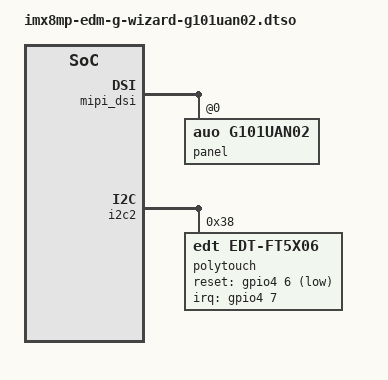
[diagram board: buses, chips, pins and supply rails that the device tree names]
// SPDX-License-Identifier: (GPL-2.0 OR MIT)
/*
 * Copyright 2020 TechNexion Ltd.
 *
 * Author: Richard Hu <richard.hu@technexion.com>
 *
 */

/dts-v1/;
/plugin/;

#include <dt-bindings/interrupt-controller/irq.h>
#include <dt-bindings/gpio/gpio.h>

&{/} {
	backlight_mipi {
		status = "okay";
	};
};

&mipi_dsi {
	status = "okay";
	#address-cells = <1>;
	#size-cells = <0>;

	panel@0 {
		compatible = "auo,g101uan02";
		reg = <0>;
		status = "okay";
	};
};

&gpio4 {
	pinctrl-0 = <&pinctrl_gpio4_mipi>;
};

&i2c2 {
	#address-cells = <1>;
	#size-cells = <0>;
	status = "okay";

	polytouch: edt-ft5826@38 {
		compatible = "edt,edt-ft5x06";
		reg = <0x38>;
		pinctrl-names = "default";
		pinctrl-0 = <&pinctrl_mipi_touch_irq>, <&pinctrl_mipi_touch_reset>;
		interrupt-parent = <&gpio4>;
		interrupts = <7 IRQ_TYPE_EDGE_FALLING>;
		reset-gpios = <&gpio4 6 GPIO_ACTIVE_LOW>;
		touchscreen-size-x = <1920>;
		touchscreen-size-y = <1200>;
	};
};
